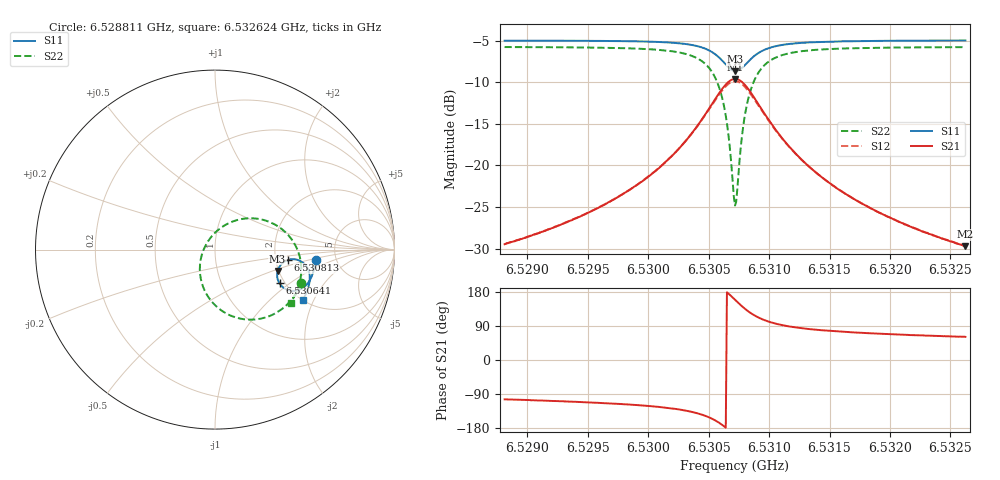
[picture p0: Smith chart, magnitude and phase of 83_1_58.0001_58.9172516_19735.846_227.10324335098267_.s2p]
#  HZ  S  RI  R  50.00
! Rohde & Schwarz Vector Network Analyzer
! Rohde-Schwarz,ZNB20-2Port,1311601062101988,3.16
! Created: UTC 3/21/2024, 12:53:58 AM
! freq[Hz]  re:S11  im:S11  re:S21  im:S21  re:S12  im:S12  re:S22  im:S22
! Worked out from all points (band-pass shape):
!   401 points, 6.528811 GHz to 6.532624 GHz, reference 50 ohm
!   highest |S21| = -9.59 dB at 6.530718 GHz (marker M1); lowest = -29.7 dB at 6.532624 GHz (marker M2)
!   |S21| within 3 dB of the highest: 6.530528 GHz to 6.53091 GHz (381.5 kHz wide, 0.00584 % of centre)
!   lowest |S11| = -8.7 dB at 6.530718 GHz (marker M3), VSWR 2.17, Z = 98.6 - j27.2 ohm
!   |S11| at or under -10 dB: nowhere
!   |S22| runs from -24.8 to -5.7 dB; largest |S21 - S12| = 0.014
!   S11 on the Smith chart (normalised r, x): 6.528811 GHz: 3.48, -0.57; 6.530641 GHz: 1.87, -0.84; 6.530813 GHz: 2.34, -0.33; 6.532624 GHz: 2.02, -1.66
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6.5288112e9  0.5608 -0.0561  -0.00809 -0.0326  -0.00869 -0.0325  0.4811 -0.186
6.5294499e9  0.5513 -0.1108  -0.0181 -0.0465  -0.0191 -0.0461  0.4489 -0.2479
6.5298121e9  0.5401 -0.1463  -0.0312 -0.0614  -0.0329 -0.0606  0.414 -0.2935
6.5300885e9  0.5238 -0.1783  -0.0537 -0.0801  -0.0562 -0.0787  0.3626 -0.3383
6.5303173e9  0.4944 -0.2103  -0.0993 -0.1026  -0.1023 -0.099  0.2708 -0.3809
6.5304794e9  0.4463 -0.2295  -0.1759 -0.1088  -0.1784 -0.1011  0.1305 -0.382
6.5305747e9  0.3964 -0.2212  -0.2534 -0.0762  -0.2519 -0.0651  0.00231 -0.3114
6.5306128e9  0.3741 -0.2059  -0.2867 -0.0427  -0.2819 -0.031  -0.0471 -0.2484
6.5306414e9  0.3594 -0.1879  -0.3071 -0.00708  -0.2996 0.00386  -0.0737 -0.1847
6.53067e9  0.3491 -0.1644  -0.3189 0.0368  -0.3088 0.046  -0.0847 -0.1098
6.5306986e9  0.3461 -0.1374  -0.3184 0.0857  -0.3062 0.0919  -0.0737 -0.0299
6.5307177e9  0.3489 -0.1189  -0.3097 0.1183  -0.2972 0.1221  -0.0532 0.0216
6.5307367e9  0.3557 -0.1014  -0.2949 0.1485  -0.2825 0.1501  -0.0231 0.0681
6.5307748e9  0.3784 -0.0733  -0.2509 0.196  -0.2404 0.1939  0.0577 0.1375
6.530813e9  0.4072 -0.0577  -0.1986 0.2217  -0.1908 0.2179  0.1489 0.1704
6.5308797e9  0.454 -0.0556  -0.117 0.2252  -0.1132 0.2215  0.2859 0.1607
6.530975e9  0.4954 -0.0774  -0.0465 0.1925  -0.0448 0.1906  0.4001 0.0894
6.531118e9  0.5204 -0.1142  -0.00352 0.1428  -0.00231 0.1421  0.4636 -0.0117
6.5313563e9  0.528 -0.1585  0.015 0.0936  0.0162 0.0932  0.4809 -0.1147
6.5316423e9  0.5238 -0.1948  0.0185 0.0642  0.0195 0.064  0.4722 -0.1832
6.5319949e9  0.5138 -0.2291  0.0181 0.0452  0.0188 0.045  0.4547 -0.235
6.5326241e9  0.4916 -0.2791  0.0158 0.0286  0.0164 0.0284  0.4223 -0.2955
